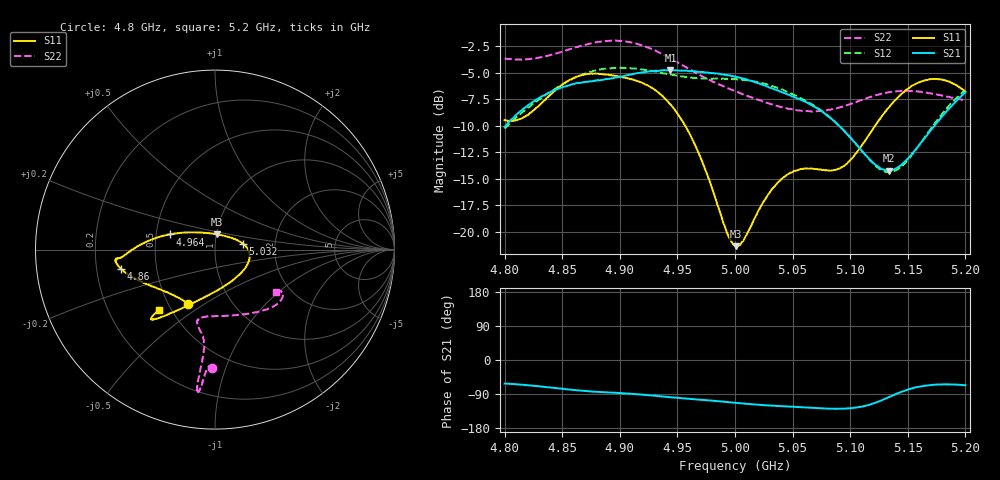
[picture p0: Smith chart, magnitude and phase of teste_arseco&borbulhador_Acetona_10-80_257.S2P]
! Network Analyzer HP8722D
! Hewlett-Packard
! Data name: Linha & Wilkinson
! Saver's name: Rodrigo Anjos
! Comments: Teste da utilização de aquisição
! continua pelo VNA HP8722D
! Time and date: 17/4/2025 16:30
!  Frequency  S11  S21  S12  S22
# HZ  S  MA R 50
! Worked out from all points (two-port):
!   401 points, 4.8 GHz to 5.2 GHz, reference 50 ohm
!   highest |S21| = -4.71 dB at 4.944 GHz (marker M1); lowest = -14.2 dB at 5.134 GHz (marker M2)
!   |S21| within 3 dB of the highest: 4.825 GHz to 5.061 GHz (235.8 MHz wide, 4.77 % of centre); 5.191505 GHz to end of sweep
!   lowest |S11| = -21.4 dB at 5.001 GHz (marker M3), VSWR 1.19, Z = 50.4 + j8.62 ohm
!   |S11| at or under -10 dB: 4.957 GHz to 5.122 GHz (164.7 MHz wide, 3.27 % of centre)
!   |S22| runs from -8.7 to -1.9 dB; largest |S21 - S12| = 0.87
!   S11 on the Smith chart (normalised r, x): 4.8 GHz: 0.63, -0.43; 4.86 GHz: 0.31, -0.09; 4.964 GHz: 0.59, +0.11; 5.032 GHz: 1.36, +0.09; 5.2 GHz: 0.43, -0.37
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4.8e9  0.3368 -116.5  0.313 -62.2  0.3069 -176.4  0.6574 -91.2
4.819e9  0.3538 -136.8  0.3904 -66.3  0.3796 -175.9  0.6534 -92.9
4.86e9  0.5329 -168.2  0.4984 -78.9  0.5318 -179.3  0.7367 -95.3
4.867e9  0.5491 -170.9  0.5077 -81.1  0.5505 179.6  0.758 -95.6
4.9e9  0.5404 -174.8  0.5376 -87.3  0.5947 173.4  0.7964 -97.0
4.934e9  0.453 179.3  0.5761 -95.4  0.5666 170.2  0.7035 -97.3
4.944e9  0.3995 174.7  0.5814 -98.2  0.5522 170.4  0.6605 -96.9
4.964e9  0.2665 161.6  0.5714 -103.4  0.5333 172.0  0.5716 -96.4
4.993e9  0.0993 112.4  0.5497 -110.8  0.5279 174.3  0.4781 -98.7
5e9  0.08587 86.1  0.5398 -112.9  0.5265 174.4  0.4622 -100.1
5.001e9  0.08559 82.2  0.5379 -112.9  0.5259 174.3  0.4599 -100.4
5.007e9  0.09063 59.4  0.53 -114.6  0.5213 174.3  0.4458 -101.7
5.032e9  0.1589 12.2  0.4769 -120.5  0.4883 173.2  0.3997 -103.5
5.047e9  0.1886 -2.1  0.4435 -122.9  0.454 172.6  0.3807 -99.8
5.067e9  0.1987 -23.3  0.3944 -126.4  0.3995 172.2  0.3693 -88.5
5.096e9  0.2075 -73.7  0.2945 -128.1  0.2955 174.7  0.3942 -66.1
5.121e9  0.313 -111.1  0.2092 -113.8  0.2072 -168.7  0.4396 -49.5
5.134e9  0.3896 -121.0  0.1948 -97.4  0.191 -150.6  0.4562 -43.3
5.146e9  0.455 -126.6  0.211 -82.1  0.2061 -132.8  0.463 -38.8
5.168e9  0.5234 -131.9  0.2929 -66.8  0.2966 -113.1  0.4513 -33.3
5.184e9  0.5153 -133.2  0.373 -64.4  0.3845 -108.7  0.4351 -32.3
5.2e9  0.4586 -133.0  0.4554 -66.7  0.4655 -108.8  0.4163 -34.8
